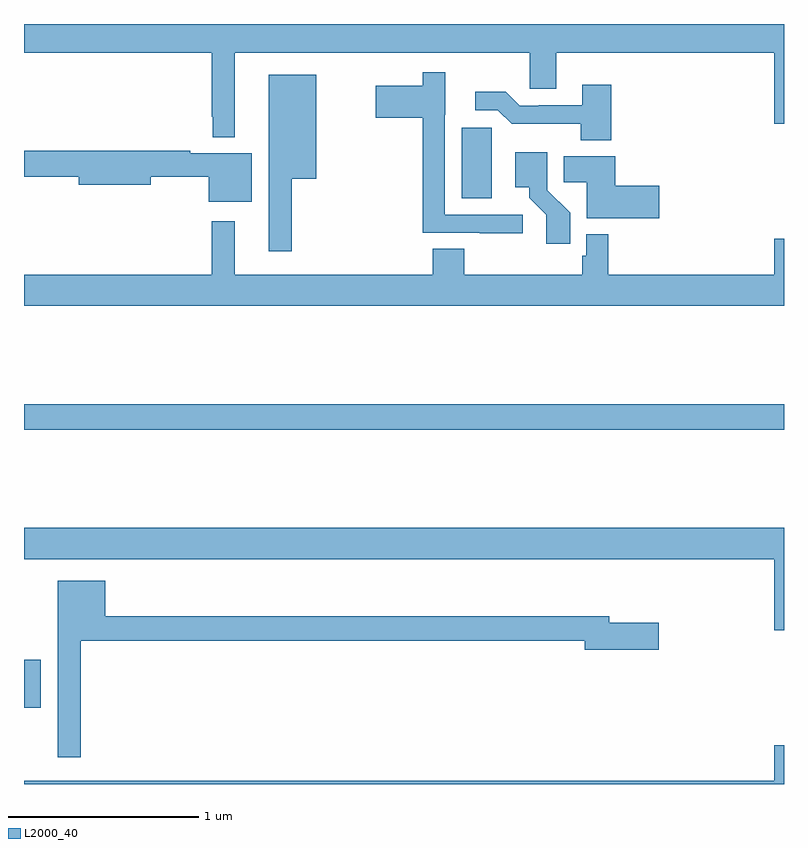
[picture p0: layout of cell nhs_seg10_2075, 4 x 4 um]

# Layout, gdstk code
import gdstk
lib = gdstk.Library(unit=1e-6, precision=1e-09)
def R(c, l, rs):  # rectangles x0, y0, x1, y1
    for r in rs: c.add(gdstk.rectangle(r[:2], r[2:], *l))
def P(c, l, *ps):  # polygons
    for p in ps: c.add(gdstk.Polygon(p, *l))
L2000_40 = (2000, 40)

nhs_seg10_2075 = lib.new_cell('nhs_seg10_2075')
R(nhs_seg10_2075, L2000_40, [(221,1264.901,221.089,1265.155), (221,1266.364,225,1266.5), (223.304,1267.584,223.462,1267.953)])
P(nhs_seg10_2075, L2000_40, [(222.109,1268.348),(223.662,1268.348),(223.662,1268.158),(223.801,1268.158),(223.801,1268.348),(224.948,1268.348),(224.948,1267.974),(225,1267.974),(225,1268.5),(221,1268.5),(221,1268.348),(221.988,1268.348),(221.988,1268.011),(221.994,1268.011),(221.994,1267.904),(222.109,1267.904)],
  [(223.624,1267.497),(223.215,1267.497),(223.215,1268.022),(223.216,1268.022),(223.216,1268.245),(223.099,1268.245),(223.099,1268.176),(222.852,1268.176),(222.852,1268.006),(223.099,1268.006),(223.099,1267.401),(223.399,1267.401),(223.399,1267.399),(223.624,1267.399)],
  [(222.409,1267.685),(222.538,1267.685),(222.538,1268.233),(222.287,1268.233),(222.287,1267.305),(222.409,1267.305)],
  [(224.09,1268.179),(223.937,1268.179),(223.937,1268.073),(223.708,1268.073),(223.708,1268.07),(223.608,1268.07),(223.535,1268.143),(223.374,1268.143),(223.374,1268.046),(223.494,1268.046),(223.567,1267.974),(223.93,1267.974),(223.93,1267.889),(224.09,1267.889)],
  [(222.199,1267.819),(221.876,1267.819),(221.876,1267.832),(221,1267.832),(221,1267.696),(221.288,1267.696),(221.288,1267.654),(221.668,1267.654),(221.668,1267.696),(221.972,1267.696),(221.972,1267.565),(222.199,1267.565)],
  [(223.874,1267.506),(223.755,1267.625),(223.755,1267.776),(223.753,1267.776),(223.753,1267.825),(223.586,1267.825),(223.586,1267.64),(223.658,1267.64),(223.658,1267.585),(223.749,1267.495),(223.749,1267.344),(223.874,1267.344)],
  [(224.344,1267.649),(224.111,1267.649),(224.111,1267.804),(223.84,1267.804),(223.84,1267.666),(223.961,1267.666),(223.961,1267.478),(224.344,1267.478)],
  [(225,1267.369),(224.948,1267.369),(224.948,1267.18),(224.075,1267.18),(224.075,1267.393),(223.959,1267.393),(223.959,1267.281),(223.939,1267.281),(223.939,1267.18),(223.316,1267.18),(223.316,1267.316),(223.151,1267.316),(223.151,1267.18),(222.109,1267.18),(222.109,1267.462),(221.988,1267.462),(221.988,1267.18),(221,1267.18),(221,1267.016),(225,1267.016)],
  [(225,1265.848),(221,1265.848),(221,1265.684),(224.948,1265.684),(224.948,1265.31),(225,1265.31)],
  [(221.299,1265.254),(223.952,1265.254),(223.952,1265.207),(224.341,1265.207),(224.341,1265.349),(224.08,1265.349),(224.08,1265.383),(221.428,1265.383),(221.428,1265.569),(221.177,1265.569),(221.177,1264.641),(221.299,1264.641)],
  [(225,1264.705),(224.948,1264.705),(224.948,1264.516),(221,1264.516),(221,1264.5),(225,1264.5)])

lib.write_gds('nhs_seg10_2075.gds')
